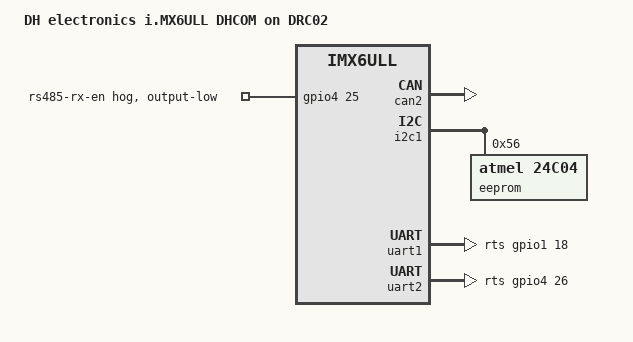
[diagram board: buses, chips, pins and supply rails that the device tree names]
// SPDX-License-Identifier: GPL-2.0+ OR BSD-3-Clause
/*
 * Copyright (C) 2023 DH electronics GmbH
 *
 * DHCOM iMX6ULL variant:
 * DHCM-iMX6ULL-C080-R051-F0409-SPI-E2-CAN2-SD-RTC-ADC-I-01D2
 * DHCOR PCB number: 578-200 or newer
 * DHCOM PCB number: 579-200 or newer
 * DRC02 PCB number: 568-100 or newer (2nd ethernet by SoM)
 */
/dts-v1/;

#include "imx6ull-dhcom-som.dtsi"
#include "imx6ull-dhcom-som-cfg-sdcard.dtsi"

/ {
	model = "DH electronics i.MX6ULL DHCOM on DRC02";
	compatible = "dh,imx6ull-dhcom-drc02", "dh,imx6ull-dhcom-som",
		     "dh,imx6ull-dhcor-som", "fsl,imx6ull";
};

/*
 * The signals for CAN2 TX and RX are routed to the DHCOM UART1 RTS/CTS pins.
 * Therefore the UART RTS/CTS must be output on other DHCOM pins, see uart1
 * node below.
 */
&can2 {
	status = "okay";
};

&gpio1 {
	gpio-line-names =
		"", "", "", "",
		"", "", "", "",
		"", "", "", "DRC02-In2",
		"", "", "", "",
		"", "", "DHCOM-I", "",
		"", "", "", "",
		"", "", "", "",
		"", "", "", "";
};

&gpio4 {
	gpio-line-names =
		"", "", "", "",
		"", "", "", "",
		"", "", "", "",
		"", "", "", "",
		"", "DRC02-HW0", "DRC02-HW1", "DHCOM-M",
		"DRC02-HW2", "DHCOM-U", "DHCOM-T", "DHCOM-S",
		"DHCOM-R", "DHCOM-Q", "DHCOM-P", "DHCOM-O",
		"DHCOM-N", "", "", "";
	/*
	 * NOTE: On DRC02, the RS485_RX_En is controlled by a separate
	 * GPIO line, however the i.MX6ULL UART driver assumes RX happens
	 * during TX anyway and that it only controls drive enable DE
	 * line. Hence, the RX is always enabled here.
	 */
	rs485-rx-en-hog {
		gpio-hog;
		gpios = <25 0>; /* GPIO Q */
		line-name = "rs485-rx-en";
		output-low;
	};
};

&gpio5 {
	gpio-line-names =
		"DHCOM-A", "DHCOM-B", "DHCOM-C", "DRC02-Out2",
		"DHCOM-E", "", "", "DRC02-Out1",
		"DRC02-In1", "DHCOM-H", "", "",
		"", "", "", "",
		"", "", "", "",
		"", "", "", "",
		"", "", "", "",
		"", "", "", "";
};

/* DHCOM I2C2 */
&i2c1 {
	eeprom@56 {
		compatible = "atmel,24c04";
		reg = <0x56>;
		pagesize = <16>;
	};
};

&uart1 {
	/delete-property/ uart-has-rtscts;
	rts-gpios = <&gpio1 18 GPIO_ACTIVE_HIGH>; /* GPIO I */
	cts-gpios = <&gpio4 19 GPIO_ACTIVE_HIGH>; /* GPIO M */
};

/* Use UART as RS485 */
&uart2 {
	/delete-property/ uart-has-rtscts;
	linux,rs485-enabled-at-boot-time;
	rts-gpios = <&gpio4 26 GPIO_ACTIVE_HIGH>; /* GPIO P */
};
